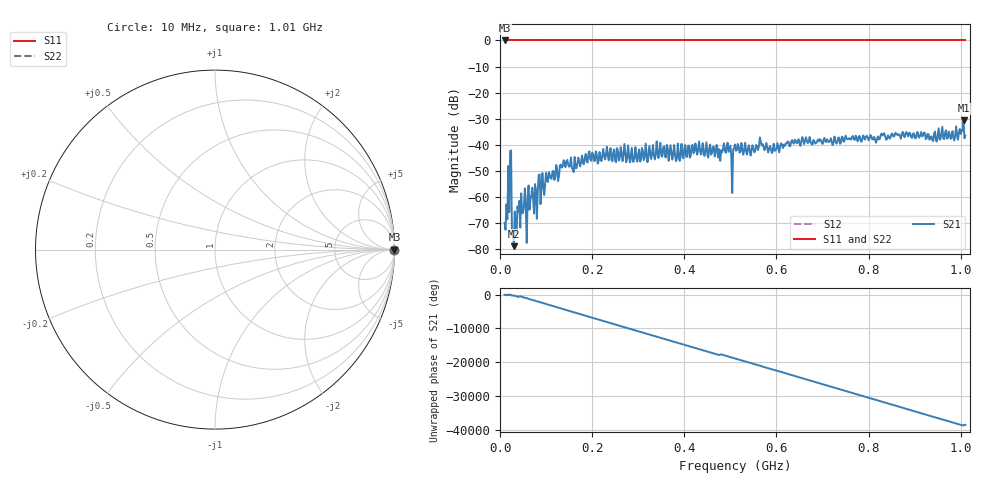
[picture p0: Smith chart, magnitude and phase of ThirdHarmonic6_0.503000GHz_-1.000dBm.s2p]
! 8/15/2025 3:10:55 PM
! C:\ANRITSUVNA\TEMP\TEMP.S2P
! CHANNEL.1
! TR.MEASUREMENT
! RAW.DATA
! RF.CORRECTION.OFF
! AVERAGING.OFF
! IF.BANDWIDTH: 5KHZ
! SWEEPTYPE:  FREQ.SWEEP(Linear)
! Reference Plane Port Info
! PORT:  PORT1  PORT2
! DISTANCE:  0  m  0  m
! TIME:  0  s  0  s
! PHASE.OFFSET:  0  deg.  0  deg.
! LOSS:  0  dB  0  dB
! REF.LOSS:  0  dB  0  dB
! REF.FREQ:  0  Hz  0  Hz
! Power Info
! POWER:  -20  dBm  -20  dBm
! EFF.POWER:  -20  dBm  -20  dBm
! SOURCE.ATTEN:  0  dB  0  dB
! TEST.ATTEN:  0  dB  0  dB
# GHZ S RI R 50.0
! FREQ.GHZ  S11RE  S11IM  S21RE  S21IM  S12RE  S12IM  S22RE  S22IM
!; PortSelection: Port_12
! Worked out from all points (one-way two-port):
!   501 points, 10 MHz to 1.01 GHz, reference 50 ohm
!   highest |S21| = -30.60 dB at 1.006 GHz (marker M1); lowest = -78.8 dB at 30 MHz (marker M2)
!   lowest |S11| = 0.0 dB at 10 MHz (marker M3)
!   |S11| at or under -10 dB: nowhere
!   |S22| runs from 0.0 to 0.0 dB; largest |S21 - S12| = 1
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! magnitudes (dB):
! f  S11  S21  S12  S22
! 10 MHz  0.0  -69.9  0.0  0.0
! 16 MHz  0.0  -68.4  0.0  0.0
! 20 MHz  0.0  -65.7  0.0  0.0
! 22 MHz  0.0  -42.3  0.0  0.0
! 30 MHz  0.0  -78.8  0.0  0.0
! 42 MHz  0.0  -61.4  0.0  0.0
! 60 MHz  0.0  -60.1  0.0  0.0
! 66 MHz  0.0  -60.9  0.0  0.0
! 76 MHz  0.0  -55.0  0.0  0.0
! 88 MHz  0.0  -62.6  0.0  0.0
! 92 MHz  0.0  -50.8  0.0  0.0
! 142 MHz  0.0  -48.5  0.0  0.0
! 178 MHz  0.0  -44.1  0.0  0.0
! 344 MHz  0.0  -45.0  0.0  0.0
! 386 MHz  0.0  -39.5  0.0  0.0
! 496 MHz  0.0  -42.6  0.0  0.0
! 500 MHz  0.0  -40.3  0.0  0.0
! 510 MHz  0.0  -39.8  0.0  0.0
! 678 MHz  0.0  -39.9  0.0  0.0
! 844 MHz  0.0  -36.9  0.0  0.0
! 1.006 GHz  0.0  -30.6  0.0  0.0
! 1.01 GHz  0.0  -36.5  0.0  0.0
